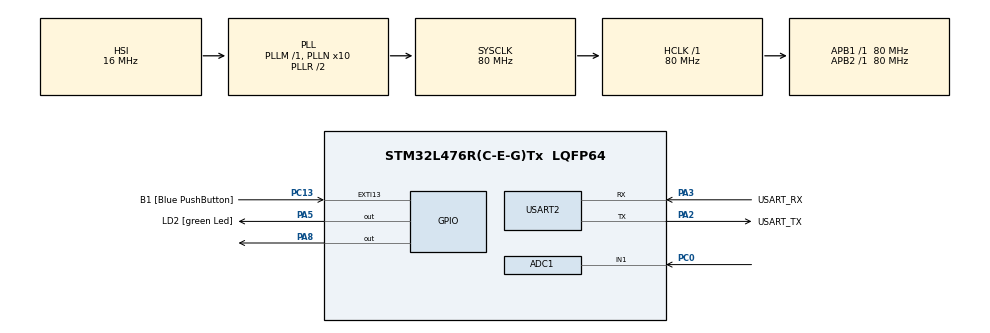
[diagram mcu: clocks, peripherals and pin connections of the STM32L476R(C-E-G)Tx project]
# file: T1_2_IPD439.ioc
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ADC1.Channel-0\#ChannelRegularConversion=ADC_CHANNEL_1
ADC1.ExternalTrigConv=ADC_EXTERNALTRIG_T2_TRGO
ADC1.NbrOfConversionFlag=1
ADC1.OffsetNumber-0\#ChannelRegularConversion=ADC_OFFSET_NONE
ADC1.Rank-0\#ChannelRegularConversion=1
ADC1.SamplingTime-0\#ChannelRegularConversion=ADC_SAMPLETIME_2CYCLES_5
ADC1.master=1
Dma.ADC1.0.Direction=DMA_PERIPH_TO_MEMORY
Dma.ADC1.0.Instance=DMA1_Channel1
Dma.ADC1.0.MemDataAlignment=DMA_MDATAALIGN_HALFWORD
Dma.ADC1.0.MemInc=DMA_MINC_ENABLE
Dma.ADC1.0.Mode=DMA_NORMAL
Dma.ADC1.0.PeriphDataAlignment=DMA_PDATAALIGN_HALFWORD
Dma.ADC1.0.PeriphInc=DMA_PINC_DISABLE
Dma.ADC1.0.Priority=DMA_PRIORITY_LOW
Dma.Request0=ADC1
Mcu.Family=STM32L4
Mcu.Name=STM32L476R(C-E-G)Tx
Mcu.Package=LQFP64
NVIC.ADC1_2_IRQn=true\:0\:0\:false\:false\:true\:true\:true\:true
NVIC.DMA1_Channel1_IRQn=true\:0\:0\:false\:false\:true\:false\:true\:true
NVIC.EXTI15_10_IRQn=true\:0\:0\:false\:false\:true\:true\:true\:true
NVIC.PriorityGroup=NVIC_PRIORITYGROUP_4
PA13\ (JTMS-SWDIO).GPIO_Label=TMS
PA13\ (JTMS-SWDIO).Mode=Serial_Wire
PA13\ (JTMS-SWDIO).Signal=SYS_JTMS-SWDIO
PA14\ (JTCK-SWCLK).GPIO_Label=TCK
PA14\ (JTCK-SWCLK).Mode=Serial_Wire
PA14\ (JTCK-SWCLK).Signal=SYS_JTCK-SWCLK
PA2.GPIO_Label=USART_TX
PA2.GPIO_Mode=GPIO_MODE_AF_PP
PA2.GPIO_PuPd=GPIO_NOPULL
PA2.GPIO_Speed=GPIO_SPEED_FREQ_VERY_HIGH
PA2.Mode=Asynchronous
PA2.Signal=USART2_TX
PA3.GPIO_Label=USART_RX
PA3.GPIO_Mode=GPIO_MODE_AF_PP
PA3.GPIO_PuPd=GPIO_NOPULL
PA3.GPIO_Speed=GPIO_SPEED_FREQ_VERY_HIGH
PA3.Mode=Asynchronous
PA3.Signal=USART2_RX
PA5.GPIO_Label=LD2 [green Led]
PA5.GPIO_ModeDefaultOutputPP=GPIO_MODE_OUTPUT_PP
PA5.GPIO_PuPd=GPIO_NOPULL
PA5.GPIO_Speed=GPIO_SPEED_FREQ_LOW
PA5.Signal=GPIO_Output
PA8.Signal=GPIO_Output
PB3\ (JTDO-TRACESWO).GPIO_Label=SWO
PB3\ (JTDO-TRACESWO).Signal=SYS_JTDO-SWO
PC0.Signal=ADCx_IN1
PC13.GPIO_Label=B1 [Blue PushButton]
PC13.GPIO_ModeDefaultEXTI=GPIO_MODE_IT_FALLING
PC13.GPIO_PuPd=GPIO_NOPULL
PC13.Signal=GPXTI13
PC14-OSC32_IN\ (PC14).Mode=LSE-External-Oscillator
PC14-OSC32_IN\ (PC14).Signal=RCC_OSC32_IN
PC15-OSC32_OUT\ (PC15).Mode=LSE-External-Oscillator
PC15-OSC32_OUT\ (PC15).Signal=RCC_OSC32_OUT
PH0-OSC_IN\ (PH0).Signal=RCC_OSC_IN
PH1-OSC_OUT\ (PH1).Signal=RCC_OSC_OUT
ProjectManager.HeapSize=0x200
ProjectManager.StackSize=0x400
ProjectManager.TargetToolchain=STM32CubeIDE
RCC.ADCFreq_Value=64000000
RCC.AHBFreq_Value=80000000
RCC.APB1Freq_Value=80000000
RCC.APB1TimFreq_Value=80000000
RCC.APB2Freq_Value=80000000
RCC.APB2TimFreq_Value=80000000
RCC.CortexFreq_Value=80000000
RCC.HCLKFreq_Value=80000000
RCC.HSE_VALUE=8000000
RCC.HSI_VALUE=16000000
RCC.MSI_VALUE=4000000
RCC.PLLN=10
RCC.PLLSourceVirtual=RCC_PLLSOURCE_HSI
RCC.PREFETCH_ENABLE=1
RCC.SYSCLKFreq_VALUE=80000000
RCC.SYSCLKSource=RCC_SYSCLKSOURCE_PLLCLK
RCC.USBFreq_Value=64000000
RCC.VCOOutputFreq_Value=160000000
SH.ADCx_IN1.0=ADC1_IN1,IN1-Single-Ended
TIM2.Period=9999
TIM2.Prescaler=79
TIM2.TIM_MasterOutputTrigger=TIM_TRGO_UPDATE
USART2.VirtualMode-Asynchronous=VM_ASYNC
VP_TIM2_VS_ClockSourceINT.Mode=Internal
board=NUCLEO-L476RG

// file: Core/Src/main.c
/* USER CODE BEGIN Header */
/**
  ******************************************************************************
  * @file           : main.c
  * @brief          : Main program body
  ******************************************************************************
  * @attention
  *
  * Copyright (c) 2026 STMicroelectronics.
  * All rights reserved.
  *
  * This software is licensed under terms that can be found in the LICENSE file
  * in the root directory of this software component.
  * If no LICENSE file comes with this software, it is provided AS-IS.
  *
  ******************************************************************************
  */
/* USER CODE END Header */
#include "main.h"

/* USER CODE BEGIN Includes */
#include <stdio.h>
/* USER CODE END Includes */

ADC_HandleTypeDef hadc1;
DMA_HandleTypeDef hdma_adc1;

TIM_HandleTypeDef htim2;

UART_HandleTypeDef huart2;

/* USER CODE BEGIN PV */
uint16_t adc_buffer[200];
volatile uint16_t muestras_tomadas = 0;
volatile uint8_t captura_lista = 0;
volatile uint8_t modo_dma = 0; // 0 = Modo CPU, 1 = Modo DMA
/* USER CODE END PV */

void SystemClock_Config(void);
static void MX_GPIO_Init(void);
static void MX_DMA_Init(void);
static void MX_USART2_UART_Init(void);
static void MX_ADC1_Init(void);
static void MX_TIM2_Init(void);

int main(void)
{

  /* MCU Configuration--------------------------------------------------------*/

  /* Reset of all peripherals, Initializes the Flash interface and the Systick. */
  HAL_Init();

  /* Configure the system clock */
  SystemClock_Config();

  /* Initialize all configured peripherals */
  MX_GPIO_Init();
  MX_DMA_Init();
  MX_USART2_UART_Init();
  MX_ADC1_Init();
  MX_TIM2_Init();

  /* Infinite loop */
  /* USER CODE BEGIN WHILE */
  while (1)
  {
	  if (captura_lista == 1) {
		  if (modo_dma == 0) {
			  printf("Transmitiendo mediciones por CPU\n");
		  } else {
			  printf("Transmitiendo mediciones por DMA\n");
		  }
		  for (int i = 0; i < 200; i++) {
			  uint32_t milivoltios = (adc_buffer[i] * 3300) / 4095;
			  printf("%lu.%03lu\n", milivoltios / 1000, milivoltios % 1000);
		  }
		  printf("Transmision finalizada\n");
		  muestras_tomadas = 0;
		  captura_lista = 0;
		  modo_dma = !modo_dma;
	        }
    /* USER CODE END WHILE */

  }
}

void SystemClock_Config(void)
{
  RCC_OscInitTypeDef RCC_OscInitStruct = {0};
  RCC_ClkInitTypeDef RCC_ClkInitStruct = {0};

  /** Configure the main internal regulator output voltage
  */
  if (HAL_PWREx_ControlVoltageScaling(PWR_REGULATOR_VOLTAGE_SCALE1) != HAL_OK)
  {
    Error_Handler();
  }

  /** Initializes the RCC Oscillators according to the specified parameters
  * in the RCC_OscInitTypeDef structure.
  */
  RCC_OscInitStruct.OscillatorType = RCC_OSCILLATORTYPE_HSI;
  RCC_OscInitStruct.HSIState = RCC_HSI_ON;
  RCC_OscInitStruct.HSICalibrationValue = RCC_HSICALIBRATION_DEFAULT;
  RCC_OscInitStruct.PLL.PLLState = RCC_PLL_ON;
  RCC_OscInitStruct.PLL.PLLSource = RCC_PLLSOURCE_HSI;
  RCC_OscInitStruct.PLL.PLLM = 1;
  RCC_OscInitStruct.PLL.PLLN = 10;
  RCC_OscInitStruct.PLL.PLLP = RCC_PLLP_DIV7;
  RCC_OscInitStruct.PLL.PLLQ = RCC_PLLQ_DIV2;
  RCC_OscInitStruct.PLL.PLLR = RCC_PLLR_DIV2;
  if (HAL_RCC_OscConfig(&RCC_OscInitStruct) != HAL_OK)
  {
    Error_Handler();
  }

  /** Initializes the CPU, AHB and APB buses clocks
  */
  RCC_ClkInitStruct.ClockType = RCC_CLOCKTYPE_HCLK|RCC_CLOCKTYPE_SYSCLK
                              |RCC_CLOCKTYPE_PCLK1|RCC_CLOCKTYPE_PCLK2;
  RCC_ClkInitStruct.SYSCLKSource = RCC_SYSCLKSOURCE_PLLCLK;
  RCC_ClkInitStruct.AHBCLKDivider = RCC_SYSCLK_DIV1;
  RCC_ClkInitStruct.APB1CLKDivider = RCC_HCLK_DIV1;
  RCC_ClkInitStruct.APB2CLKDivider = RCC_HCLK_DIV1;

  if (HAL_RCC_ClockConfig(&RCC_ClkInitStruct, FLASH_LATENCY_4) != HAL_OK)
  {
    Error_Handler();
  }
}

static void MX_ADC1_Init(void)
{

  ADC_MultiModeTypeDef multimode = {0};
  ADC_ChannelConfTypeDef sConfig = {0};

  /** Common config
  */
  hadc1.Instance = ADC1;
  hadc1.Init.ClockPrescaler = ADC_CLOCK_ASYNC_DIV1;
  hadc1.Init.Resolution = ADC_RESOLUTION_12B;
  hadc1.Init.DataAlign = ADC_DATAALIGN_RIGHT;
  hadc1.Init.ScanConvMode = ADC_SCAN_DISABLE;
  hadc1.Init.EOCSelection = ADC_EOC_SINGLE_CONV;
  hadc1.Init.LowPowerAutoWait = DISABLE;
  hadc1.Init.ContinuousConvMode = DISABLE;
  hadc1.Init.NbrOfConversion = 1;
  hadc1.Init.DiscontinuousConvMode = DISABLE;
  hadc1.Init.ExternalTrigConv = ADC_EXTERNALTRIG_T2_TRGO;
  hadc1.Init.ExternalTrigConvEdge = ADC_EXTERNALTRIGCONVEDGE_RISING;
  hadc1.Init.DMAContinuousRequests = DISABLE;
  hadc1.Init.Overrun = ADC_OVR_DATA_PRESERVED;
  hadc1.Init.OversamplingMode = DISABLE;
  if (HAL_ADC_Init(&hadc1) != HAL_OK)
  {
    Error_Handler();
  }

  /** Configure the ADC multi-mode
  */
  multimode.Mode = ADC_MODE_INDEPENDENT;
  if (HAL_ADCEx_MultiModeConfigChannel(&hadc1, &multimode) != HAL_OK)
  {
    Error_Handler();
  }

  /** Configure Regular Channel
  */
  sConfig.Channel = ADC_CHANNEL_1;
  sConfig.Rank = ADC_REGULAR_RANK_1;
  sConfig.SamplingTime = ADC_SAMPLETIME_2CYCLES_5;
  sConfig.SingleDiff = ADC_SINGLE_ENDED;
  sConfig.OffsetNumber = ADC_OFFSET_NONE;
  sConfig.Offset = 0;
  if (HAL_ADC_ConfigChannel(&hadc1, &sConfig) != HAL_OK)
  {
    Error_Handler();
  }

}

static void MX_TIM2_Init(void)
{

  TIM_ClockConfigTypeDef sClockSourceConfig = {0};
  TIM_MasterConfigTypeDef sMasterConfig = {0};

  htim2.Instance = TIM2;
  htim2.Init.Prescaler = 79;
  htim2.Init.CounterMode = TIM_COUNTERMODE_UP;
  htim2.Init.Period = 9999;
  htim2.Init.ClockDivision = TIM_CLOCKDIVISION_DIV1;
  htim2.Init.AutoReloadPreload = TIM_AUTORELOAD_PRELOAD_DISABLE;
  if (HAL_TIM_Base_Init(&htim2) != HAL_OK)
  {
    Error_Handler();
  }
  sClockSourceConfig.ClockSource = TIM_CLOCKSOURCE_INTERNAL;
  if (HAL_TIM_ConfigClockSource(&htim2, &sClockSourceConfig) != HAL_OK)
  {
    Error_Handler();
  }
  sMasterConfig.MasterOutputTrigger = TIM_TRGO_UPDATE;
  sMasterConfig.MasterSlaveMode = TIM_MASTERSLAVEMODE_DISABLE;
  if (HAL_TIMEx_MasterConfigSynchronization(&htim2, &sMasterConfig) != HAL_OK)
  {
    Error_Handler();
  }

}

static void MX_USART2_UART_Init(void)
{

  huart2.Instance = USART2;
  huart2.Init.BaudRate = 115200;
  huart2.Init.WordLength = UART_WORDLENGTH_8B;
  huart2.Init.StopBits = UART_STOPBITS_1;
  huart2.Init.Parity = UART_PARITY_NONE;
  huart2.Init.Mode = UART_MODE_TX_RX;
  huart2.Init.HwFlowCtl = UART_HWCONTROL_NONE;
  huart2.Init.OverSampling = UART_OVERSAMPLING_16;
  huart2.Init.OneBitSampling = UART_ONE_BIT_SAMPLE_DISABLE;
  huart2.AdvancedInit.AdvFeatureInit = UART_ADVFEATURE_NO_INIT;
  if (HAL_UART_Init(&huart2) != HAL_OK)
  {
    Error_Handler();
  }

}

static void MX_DMA_Init(void)
{

  /* DMA controller clock enable */
  __HAL_RCC_DMA1_CLK_ENABLE();

  /* DMA interrupt init */
  /* DMA1_Channel1_IRQn interrupt configuration */
  HAL_NVIC_SetPriority(DMA1_Channel1_IRQn, 0, 0);
  HAL_NVIC_EnableIRQ(DMA1_Channel1_IRQn);

}

static void MX_GPIO_Init(void)
{
  GPIO_InitTypeDef GPIO_InitStruct = {0};

  /* GPIO Ports Clock Enable */
  __HAL_RCC_GPIOC_CLK_ENABLE();
  __HAL_RCC_GPIOH_CLK_ENABLE();
  __HAL_RCC_GPIOA_CLK_ENABLE();
  __HAL_RCC_GPIOB_CLK_ENABLE();

  /*Configure GPIO pin Output Level */
  HAL_GPIO_WritePin(GPIOA, LD2_Pin|GPIO_PIN_8, GPIO_PIN_RESET);

  /*Configure GPIO pin : B1_Pin */
  GPIO_InitStruct.Pin = B1_Pin;
  GPIO_InitStruct.Mode = GPIO_MODE_IT_FALLING;
  GPIO_InitStruct.Pull = GPIO_NOPULL;
  HAL_GPIO_Init(B1_GPIO_Port, &GPIO_InitStruct);

  /*Configure GPIO pins : LD2_Pin PA8 */
  GPIO_InitStruct.Pin = LD2_Pin|GPIO_PIN_8;
  GPIO_InitStruct.Mode = GPIO_MODE_OUTPUT_PP;
  GPIO_InitStruct.Pull = GPIO_NOPULL;
  GPIO_InitStruct.Speed = GPIO_SPEED_FREQ_LOW;
  HAL_GPIO_Init(GPIOA, &GPIO_InitStruct);

  /* EXTI interrupt init*/
  HAL_NVIC_SetPriority(EXTI15_10_IRQn, 0, 0);
  HAL_NVIC_EnableIRQ(EXTI15_10_IRQn);

}

/* USER CODE BEGIN 4 */
void HAL_GPIO_EXTI_Callback(uint16_t GPIO_Pin) {
    if (GPIO_Pin == GPIO_PIN_13) {
        if (captura_lista == 0 && muestras_tomadas == 0) {
        	if (modo_dma == 0){
        		HAL_ADC_Start_IT(&hadc1);
        	}
        	else {
        		HAL_ADC_Start_DMA(&hadc1, (uint32_t*)adc_buffer, 200);
        	}
        	HAL_TIM_Base_Start(&htim2);
        }
    }
}
void HAL_ADC_ConvCpltCallback(ADC_HandleTypeDef* hadc) {
    if (hadc->Instance == ADC1) {
    	HAL_GPIO_WritePin(GPIOA, GPIO_PIN_8, GPIO_PIN_SET);
    	if (modo_dma == 0){
			adc_buffer[muestras_tomadas] = HAL_ADC_GetValue(&hadc1);
			muestras_tomadas++;
			if (muestras_tomadas >= 200) {
				HAL_TIM_Base_Stop(&htim2);
				HAL_ADC_Stop_IT(&hadc1);
				captura_lista = 1;
			}
			HAL_GPIO_WritePin(GPIOA, GPIO_PIN_8, GPIO_PIN_RESET);
    	}
    	else {
    		HAL_TIM_Base_Stop(&htim2);
    		HAL_ADC_Stop_DMA(&hadc1);
    		captura_lista = 1;
        	HAL_GPIO_WritePin(GPIOA, GPIO_PIN_8, GPIO_PIN_RESET);
    	}
    }
}
int _write(int file, char *ptr, int len) {
    HAL_UART_Transmit(&huart2, (uint8_t*)ptr, len, HAL_MAX_DELAY);
    return len;
}
/* USER CODE END 4 */

void Error_Handler(void)
{
  __disable_irq();
  while (1)
  {
  }
}
